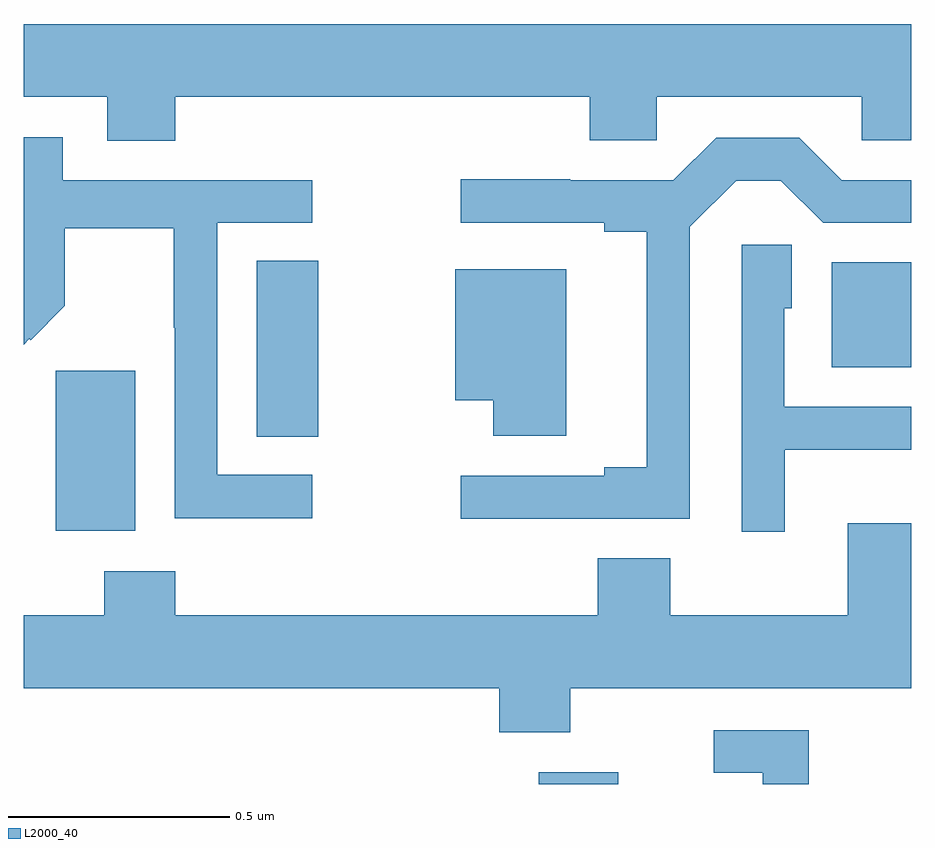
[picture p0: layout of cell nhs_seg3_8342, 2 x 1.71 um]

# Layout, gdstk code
import gdstk
lib = gdstk.Library(unit=1e-6, precision=1e-09)
def R(c, l, rs):  # rectangles x0, y0, x1, y1
    for r in rs: c.add(gdstk.rectangle(r[:2], r[2:], *l))
def P(c, l, *ps):  # polygons
    for p in ps: c.add(gdstk.Polygon(p, *l))
L2000_40 = (2000, 40)

nhs_seg3_8342 = lib.new_cell('nhs_seg3_8342')
R(nhs_seg3_8342, L2000_40, [(216.161,667.4,216.34,667.426), (215.072,667.97,215.251,668.331), (215.525,668.182,215.664,668.579), (216.821,668.339,217,668.575)])
P(nhs_seg3_8342, L2000_40, [(215.342,668.948),(216.275,668.948),(216.275,668.85),(216.426,668.85),(216.426,668.948),(216.888,668.948),(216.888,668.85),(217,668.85),(217,669.112),(215,669.112),(215,668.948),(215.189,668.948),(215.189,668.849),(215.342,668.849)],
  [(215.65,668.097),(215.436,668.097),(215.436,668.664),(215.65,668.664),(215.65,668.76),(215.088,668.76),(215.088,668.857),(215,668.857),(215,668.39),(215.013,668.403),(215.016,668.4),(215.093,668.477),(215.093,668.652),(215.338,668.652),(215.338,668.428),(215.34,668.428),(215.34,667.999),(215.65,667.999)],
  [(216.197,667.998),(216.501,667.998),(216.501,668.655),(216.605,668.759),(216.706,668.759),(216.801,668.664),(217,668.664),(217,668.76),(216.843,668.76),(216.747,668.856),(216.56,668.856),(216.464,668.76),(216.231,668.76),(216.231,668.762),(215.985,668.762),(215.985,668.664),(216.308,668.664),(216.308,668.644),(216.404,668.644),(216.404,668.114),(216.308,668.114),(216.308,668.094),(215.985,668.094),(215.985,667.997),(216.197,667.997)],
  [(216.715,668.153),(217,668.153),(217,668.25),(216.714,668.25),(216.714,668.472),(216.73,668.472),(216.73,668.615),(216.618,668.615),(216.618,667.968),(216.715,667.968)],
  [(216.223,668.56),(215.972,668.56),(215.972,668.264),(216.058,668.264),(216.058,668.184),(216.223,668.184)],
  [(216.231,667.616),(217,667.616),(217,667.987),(216.857,667.987),(216.857,667.78),(216.457,667.78),(216.457,667.909),(216.293,667.909),(216.293,667.78),(215.342,667.78),(215.342,667.879),(215.182,667.879),(215.182,667.78),(215,667.78),(215,667.616),(216.071,667.616),(216.071,667.517),(216.231,667.517)],
  [(216.769,667.521),(216.555,667.521),(216.555,667.425),(216.665,667.425),(216.665,667.4),(216.769,667.4)])

lib.write_gds('nhs_seg3_8342.gds')
